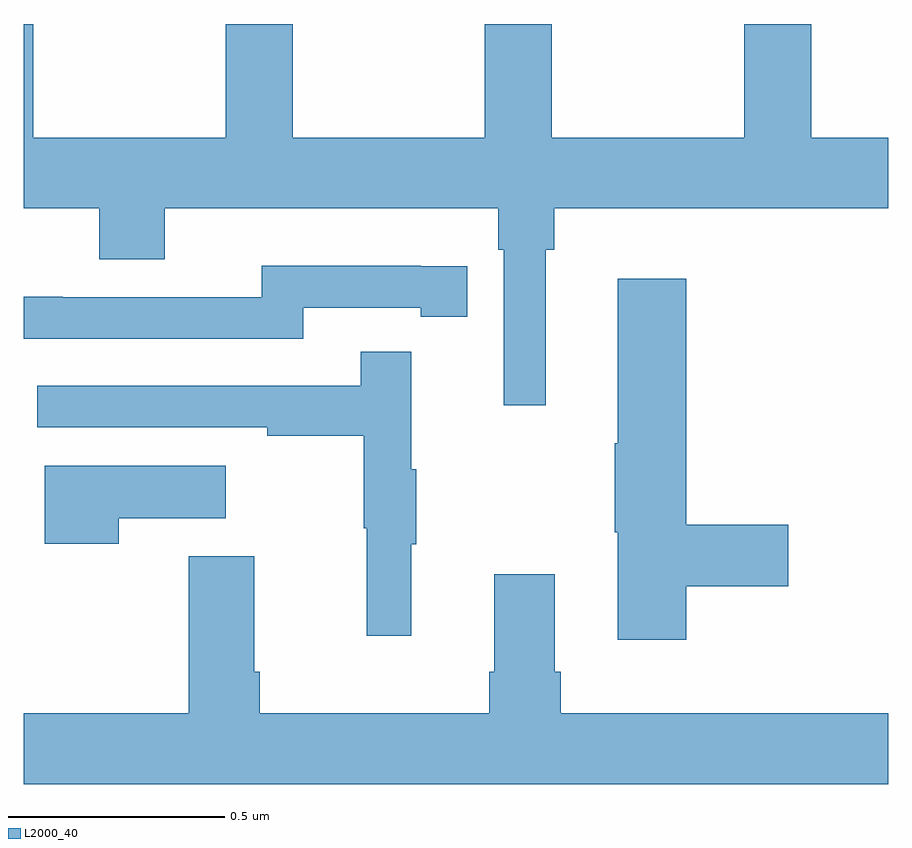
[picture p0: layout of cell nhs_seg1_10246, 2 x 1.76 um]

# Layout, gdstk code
import gdstk
lib = gdstk.Library(unit=1e-6, precision=1e-09)
def P(c, l, *ps):  # polygons
    for p in ps: c.add(gdstk.Polygon(p, *l))
L2000_40 = (2000, 40)

nhs_seg1_10246 = lib.new_cell('nhs_seg1_10246')
P(nhs_seg1_10246, L2000_40, [(240.208,511.676),(240.227,511.676),(240.227,511.772),(241,511.772),(241,511.936),(240.822,511.936),(240.822,512.199),(240.667,512.199),(240.667,511.936),(240.222,511.936),(240.222,512.199),(240.067,512.199),(240.067,511.936),(239.622,511.936),(239.622,512.199),(239.467,512.199),(239.467,511.936),(239.022,511.936),(239.022,512.199),(239,512.199),(239,511.772),(239.174,511.772),(239.174,511.655),(239.326,511.655),(239.326,511.772),(240.098,511.772),(240.098,511.676),(240.111,511.676),(240.111,511.317),(240.208,511.317)],
  [(239.646,511.542),(239.918,511.542),(239.918,511.522),(240.026,511.522),(240.026,511.638),(239.918,511.638),(239.918,511.639),(239.55,511.639),(239.55,511.566),(239.09,511.566),(239.09,511.568),(239,511.568),(239,511.47),(239.646,511.47)],
  [(240.533,510.898),(240.769,510.898),(240.769,511.04),(240.533,511.04),(240.533,511.609),(240.374,511.609),(240.374,511.229),(240.367,511.229),(240.367,511.023),(240.374,511.023),(240.374,510.774),(240.533,510.774)],
  [(239.897,510.995),(239.908,510.995),(239.908,511.169),(239.897,511.169),(239.897,511.441),(239.779,511.441),(239.779,511.362),(239.031,511.362),(239.031,511.266),(239.563,511.266),(239.563,511.246),(239.787,511.246),(239.787,511.032),(239.794,511.032),(239.794,510.783),(239.897,510.783)],
  [(239.219,511.055),(239.467,511.055),(239.467,511.177),(239.048,511.177),(239.048,510.996),(239.219,510.996)],
  [(241,510.604),(240.242,510.604),(240.242,510.7),(240.229,510.7),(240.229,510.925),(240.089,510.925),(240.089,510.7),(240.077,510.7),(240.077,510.604),(239.546,510.604),(239.546,510.7),(239.533,510.7),(239.533,510.967),(239.381,510.967),(239.381,510.604),(239,510.604),(239,510.44),(241,510.44)])

lib.write_gds('nhs_seg1_10246.gds')
